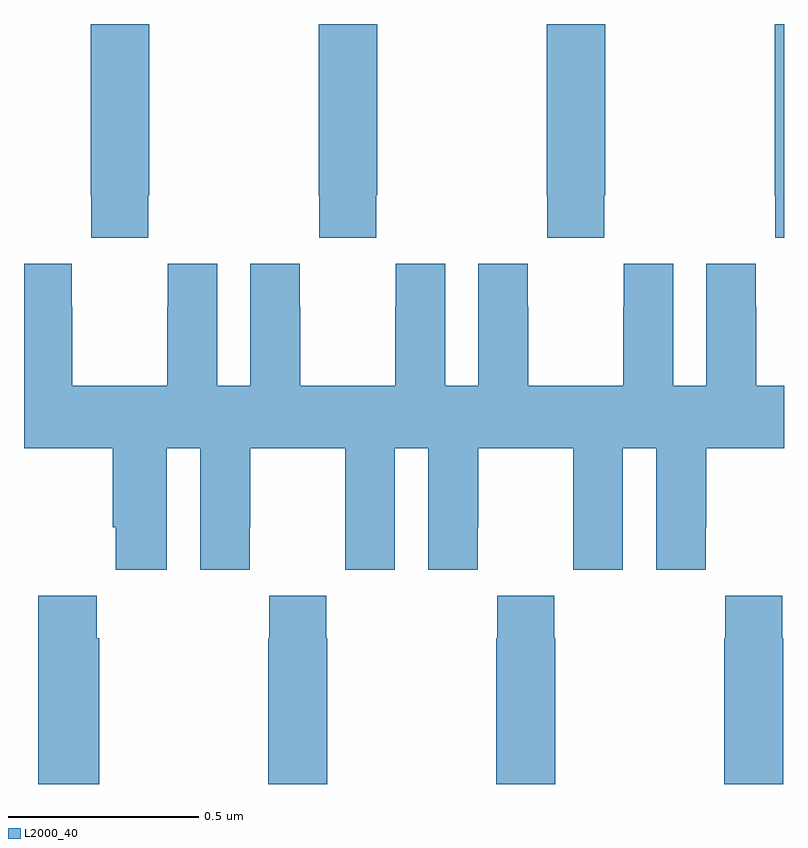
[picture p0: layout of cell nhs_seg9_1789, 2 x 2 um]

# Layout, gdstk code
import gdstk
lib = gdstk.Library(unit=1e-6, precision=1e-09)
def P(c, l, *ps):  # polygons
    for p in ps: c.add(gdstk.Polygon(p, *l))
L2000_40 = (2000, 40)

nhs_seg9_1789 = lib.new_cell('nhs_seg9_1789')
P(nhs_seg9_1789, L2000_40, [(132.927,1233.049),(132.93,1233.049),(132.93,1233.5),(132.775,1233.5),(132.775,1233.049),(132.777,1233.049),(132.777,1232.937),(132.927,1232.937)],
  [(133.527,1233.049),(133.53,1233.049),(133.53,1233.5),(133.375,1233.5),(133.375,1233.049),(133.377,1233.049),(133.377,1232.937),(133.527,1232.937)],
  [(134,1233.5),(133.975,1233.5),(133.975,1233.049),(133.977,1233.049),(133.977,1232.937),(134,1232.937)],
  [(132.327,1233.049),(132.33,1233.049),(132.33,1233.5),(132.175,1233.5),(132.175,1233.049),(132.177,1233.049),(132.177,1232.937),(132.327,1232.937)],
  [(132.376,1232.384),(132.464,1232.384),(132.464,1232.064),(132.594,1232.064),(132.594,1232.176),(132.595,1232.176),(132.595,1232.384),(132.845,1232.384),(132.845,1232.176),(132.846,1232.176),(132.846,1232.064),(132.976,1232.064),(132.976,1232.384),(133.064,1232.384),(133.064,1232.064),(133.194,1232.064),(133.194,1232.176),(133.195,1232.176),(133.195,1232.384),(133.445,1232.384),(133.445,1232.176),(133.446,1232.176),(133.446,1232.064),(133.576,1232.064),(133.576,1232.384),(133.664,1232.384),(133.664,1232.064),(133.794,1232.064),(133.794,1232.176),(133.795,1232.176),(133.795,1232.384),(134,1232.384),(134,1232.548),(133.927,1232.548),(133.927,1232.756),(133.926,1232.756),(133.926,1232.869),(133.796,1232.869),(133.796,1232.548),(133.708,1232.548),(133.708,1232.869),(133.578,1232.869),(133.578,1232.756),(133.577,1232.756),(133.577,1232.548),(133.327,1232.548),(133.327,1232.756),(133.326,1232.756),(133.326,1232.869),(133.196,1232.869),(133.196,1232.548),(133.108,1232.548),(133.108,1232.869),(132.978,1232.869),(132.978,1232.756),(132.977,1232.756),(132.977,1232.548),(132.727,1232.548),(132.727,1232.756),(132.726,1232.756),(132.726,1232.869),(132.596,1232.869),(132.596,1232.548),(132.508,1232.548),(132.508,1232.869),(132.378,1232.869),(132.378,1232.756),(132.377,1232.756),(132.377,1232.548),(132.127,1232.548),(132.127,1232.756),(132.126,1232.756),(132.126,1232.869),(132,1232.869),(132,1232.384),(132.233,1232.384),(132.233,1232.176),(132.242,1232.176),(132.242,1232.064),(132.376,1232.064)],
  [(133.998,1231.883),(133.995,1231.883),(133.995,1231.996),(133.845,1231.996),(133.845,1231.883),(133.843,1231.883),(133.843,1231.5),(133.998,1231.5)],
  [(132.798,1231.883),(132.795,1231.883),(132.795,1231.996),(132.645,1231.996),(132.645,1231.883),(132.643,1231.883),(132.643,1231.5),(132.798,1231.5)],
  [(132.198,1231.883),(132.191,1231.883),(132.191,1231.996),(132.038,1231.996),(132.038,1231.5),(132.198,1231.5)],
  [(133.398,1231.883),(133.395,1231.883),(133.395,1231.996),(133.245,1231.996),(133.245,1231.883),(133.243,1231.883),(133.243,1231.5),(133.398,1231.5)])

lib.write_gds('nhs_seg9_1789.gds')
